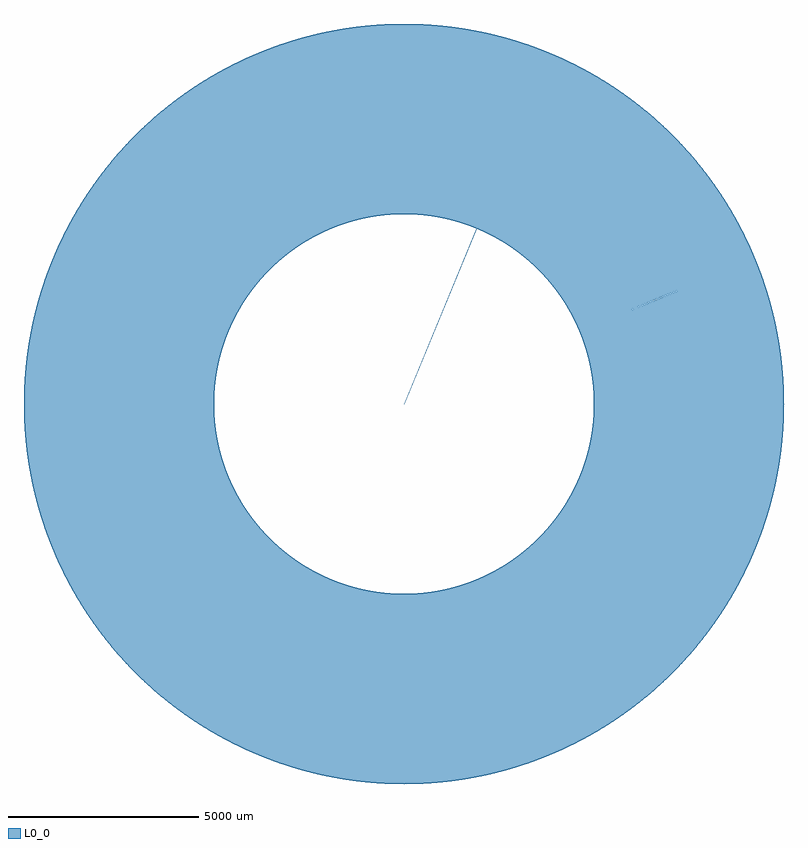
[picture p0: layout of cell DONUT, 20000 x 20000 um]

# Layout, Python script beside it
import gdspy
import numpy as np

# Create a new library
lib = gdspy.GdsLibrary()

# Create a new cell
cell = lib.new_cell('DONUT')

# Define parameters (converting mm to µm)
outer_radius = 10000  # 10 mm
inner_radius = 5000   # 5 mm
max_distance = 10     # 0.01 mm

# Calculate number of points for smooth circles
num_points = int(np.ceil(2 * np.pi * outer_radius / max_distance))

# Create outer circle
outer_circle = gdspy.Round((0, 0), outer_radius, number_of_points=num_points)

# Create inner circle
inner_circle = gdspy.Round((0, 0), inner_radius, number_of_points=num_points)

# Create donut by subtracting inner circle from outer circle
donut = gdspy.boolean(outer_circle, inner_circle, 'not')

# Add the donut to the cell
cell.add(donut)

# Save the design to a GDS file
lib.write_gds('donut.gds')

print("Donut shape has been generated and saved as 'donut.gds'")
